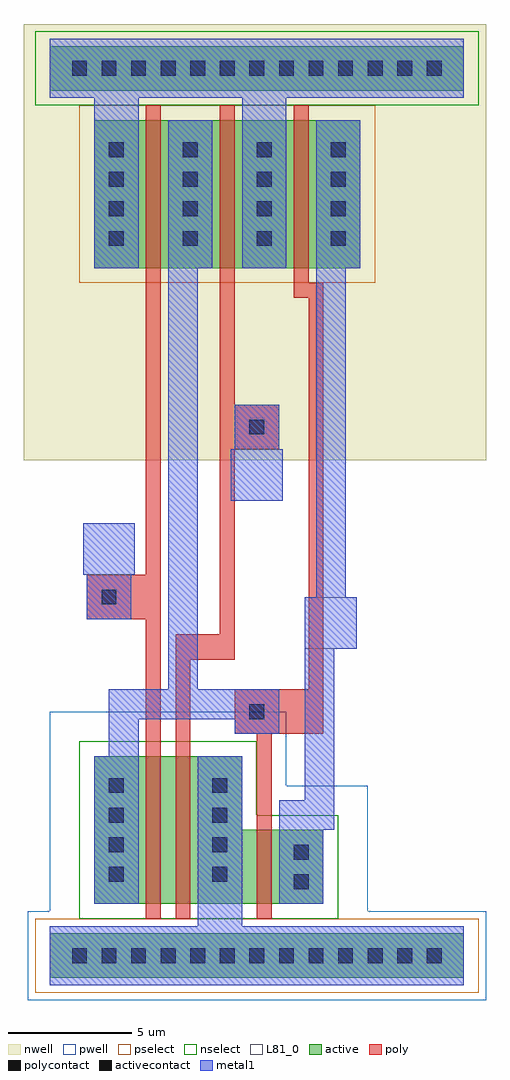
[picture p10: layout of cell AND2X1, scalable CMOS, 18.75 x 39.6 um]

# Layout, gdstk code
import gdstk
lib = gdstk.Library(unit=1e-6, precision=1e-09)
def R(c, l, rs):  # rectangles x0, y0, x1, y1
    for r in rs: c.add(gdstk.rectangle(r[:2], r[2:], *l))
def A(c, l, x, y, w, h, nx, ny, dx, dy):  # array of equal rectangles
    R(c, l, [(x+i*dx, y+j*dy, x+i*dx+w, y+j*dy+h) for i in range(nx) for j in range(ny)])
pwell = (41, 0)
nwell = (42, 0)
active = (43, 0)
pselect = (44, 0)
nselect = (45, 0)
poly = (46, 0)
polycontact = (47, 0)
activecontact = (48, 0)
metal1 = (49, 0)
L81_0 = (81, 0)

and2x1 = lib.new_cell('AND2X1')
R(and2x1, pwell, [(-1.8,-1.8,16.8,1.8), (-0.9,1.8,12,6.9), (-0.9,6.9,8.7,9.9)])
R(and2x1, nwell, [(-1.95,20.1,16.8,37.8)])
R(and2x1, active, [(-0.9,-0.9,15.9,0.9), (0.9,2.1,10.2,5.1), (0.9,5.1,6.9,8.1), (0.9,27.9,11.7,33.9), (-0.9,35.1,15.9,36.9)])
R(and2x1, pselect, [(-1.5,-1.5,16.5,1.5), (0.3,27.3,12.3,34.5)])
R(and2x1, nselect, [(0.3,1.5,10.8,5.7), (0.3,5.7,7.5,8.7), (-1.5,34.5,16.5,37.5)])
R(and2x1, poly, [(3,1.5,3.6,13.65), (4.2,1.5,4.8,12), (7.5,1.5,8.1,9), (6.6,9,10.2,10.8), (9.6,10.8,10.2,26.7), (4.2,12,6.6,13.05), (6,13.05,6.6,20.55), (0.6,13.65,3.6,15.45), (3,15.45,3.6,34.5), (6,20.55,8.4,22.35), (6,22.35,6.6,34.5), (9,26.7,10.2,27.3), (9,27.3,9.6,34.5)])
R(and2x1, polycontact, [(7.2,9.6,7.8,10.2), (1.2,14.25,1.8,14.85), (7.2,21.15,7.8,21.75)])
A(and2x1, activecontact, 0, -0.3, 0.6, 0.6, 13, 2, 1.2, 36)
A(and2x1, activecontact, 1.5, 3, 0.6, 0.6, 1, 4, 0, 1.2)
A(and2x1, activecontact, 5.7, 3, 0.6, 0.6, 1, 4, 0, 1.2)
A(and2x1, activecontact, 1.5, 28.8, 0.6, 0.6, 4, 4, 3, 1.2)
R(and2x1, activecontact, [(9,2.7,9.6,3.3), (9,3.9,9.6,4.5)])
R(and2x1, metal1, [(-0.9,-1.2,15.9,1.2), (5.1,1.2,6.9,8.1), (0.9,2.1,2.7,8.1), (8.4,2.1,10.2,5.1), (8.4,5.1,10.65,6.3), (9.45,6.3,10.65,12.45), (1.5,8.1,2.7,9.6), (6.6,9,8.4,9.6), (1.5,9.6,8.4,10.8), (3.9,10.8,5.1,27.9), (9.45,12.45,11.55,14.55), (0.6,13.65,2.4,15.45), (9.9,14.55,11.1,27.9), (0.45,15.45,2.55,17.55), (6.45,18.45,8.55,20.55), (6.6,20.55,8.4,22.35), (0.9,27.9,2.7,34.8), (3.9,27.9,5.7,33.9), (6.9,27.9,8.7,34.8), (9.9,27.9,11.7,33.9), (-0.9,34.8,15.9,37.2)])
R(and2x1, L81_0, [(9.45,12.45,11.55,14.55), (0.45,15.45,2.55,17.55), (6.45,18.45,8.55,20.55)])

lib.write_gds('AND2X1.gds')
